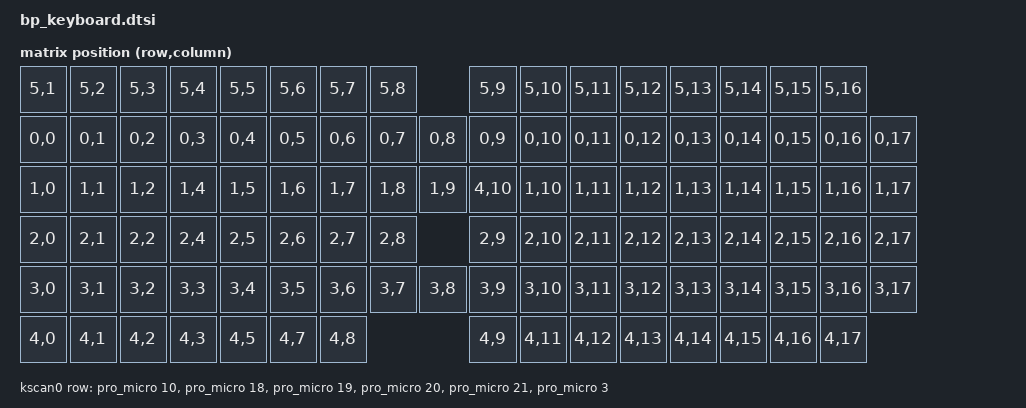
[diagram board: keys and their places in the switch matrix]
/*
 * Copyright (c) 2026 BP Keyboard
 * SPDX-License-Identifier: MIT
 * BP分体键盘 - 统一矩阵定义
 * 矩阵: 18列 x 6行 (左9列 + 右9列)
 * 矩阵: 18列 x 6逻辑行 (物理行重映射)
 * 物理行索引: 0=ROW0(D10),1=ROW1(D18),2=ROW2(D19),3=ROW3(D20),4=ROW4(D21),5=ROW5(D3)
 * 逻辑行顺序: 行0=物理ROW5(功能行), 行1=物理ROW0(数字行), 行2=物理ROW1, 行3=物理ROW2, 行4=物理ROW3, 行5=物理ROW4(拇指区)
 */

#include <dt-bindings/zmk/matrix_transform.h>
#include "bp_keyboard-layouts.dtsi"

/ {
    chosen {
        zmk,kscan = &kscan0;
        zmk,physical_layout = &physical_layout0;
    };

    matrix_transform0: keymap_transform_0 {
        compatible = "zmk,matrix-transform";
        columns = <18>;
        rows = <6>;
        map = <
        //  左键盘                      												 		      右键盘
        // 顶部功能行 (KLE 第一行)
        RC(5,1)  RC(5,2)  RC(5,3)  RC(5,4)  RC(5,5)  RC(5,6)  RC(5,7)  RC(5,8)                    RC(5,9)  RC(5,10) RC(5,11) RC(5,12) RC(5,13) RC(5,14) RC(5,15) RC(5,16)

        // 主键盘区第 0 行 (KLE 第二行)
        RC(0,0)  RC(0,1)  RC(0,2)  RC(0,3)  RC(0,4)  RC(0,5)  RC(0,6)  RC(0,7)   RC(0,8)          RC(0,9)  RC(0,10) RC(0,11) RC(0,12) RC(0,13) RC(0,14) RC(0,15) RC(0,16) RC(0,17)

        // 主键盘区第 1 行 (KLE 第三行)
        RC(1,0)  RC(1,1)  RC(1,2)  RC(1,4)  RC(1,5)  RC(1,6)  RC(1,7)  RC(1,8)                    RC(1,9)  RC(4,10) RC(1,10) RC(1,11) RC(1,12) RC(1,13) RC(1,14) RC(1,15) RC(1,16) RC(1,17)

        // 主键盘区第 2 行 (KLE 第四行)
        RC(2,0)  RC(2,1)  RC(2,2)  RC(2,4)  RC(2,5)  RC(2,6)  RC(2,7)  RC(2,8)                    RC(2,9)  RC(2,10) RC(2,11) RC(2,12) RC(2,13) RC(2,14) RC(2,15) RC(2,16) RC(2,17)

        // 主键盘区第 3 行 (KLE 第五行)
        RC(3,0)  RC(3,1)  RC(3,2)  RC(3,3)  RC(3,4)  RC(3,5)  RC(3,6)  RC(3,7) RC(3,8)            RC(3,9)  RC(3,10) RC(3,11) RC(3,12) RC(3,13) RC(3,14) RC(3,15) RC(3,16) RC(3,17)

        // 主键盘区第 4 行 (KLE 第六行)
        RC(4,0)  RC(4,1)  RC(4,2)  RC(4,3)  RC(4,5)  RC(4,7)  RC(4,8)                             RC(4,9)  RC(4,11) RC(4,12) RC(4,13) RC(4,14) RC(4,15) RC(4,16) RC(4,17)
        >;
    };

    kscan0: kscan_matrix_0 {
        compatible = "zmk,kscan-gpio-matrix";
        label = "KSCAN";
        wakeup-source;
        diode-direction = "col2row";

        // 行线定义（左右共用）
        row-gpios
            = <&pro_micro 10 (GPIO_ACTIVE_HIGH | GPIO_PULL_DOWN)>  // ROW0
            , <&pro_micro 18 (GPIO_ACTIVE_HIGH | GPIO_PULL_DOWN)>  // ROW1
            , <&pro_micro 19 (GPIO_ACTIVE_HIGH | GPIO_PULL_DOWN)>  // ROW2
            , <&pro_micro 20 (GPIO_ACTIVE_HIGH | GPIO_PULL_DOWN)>  // ROW3
            , <&pro_micro 21 (GPIO_ACTIVE_HIGH | GPIO_PULL_DOWN)>  // ROW4
            , <&pro_micro 3  (GPIO_ACTIVE_HIGH | GPIO_PULL_DOWN)>  // ROW5
            ;

        // col-gpios 由各 overlay 定义
    };
};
